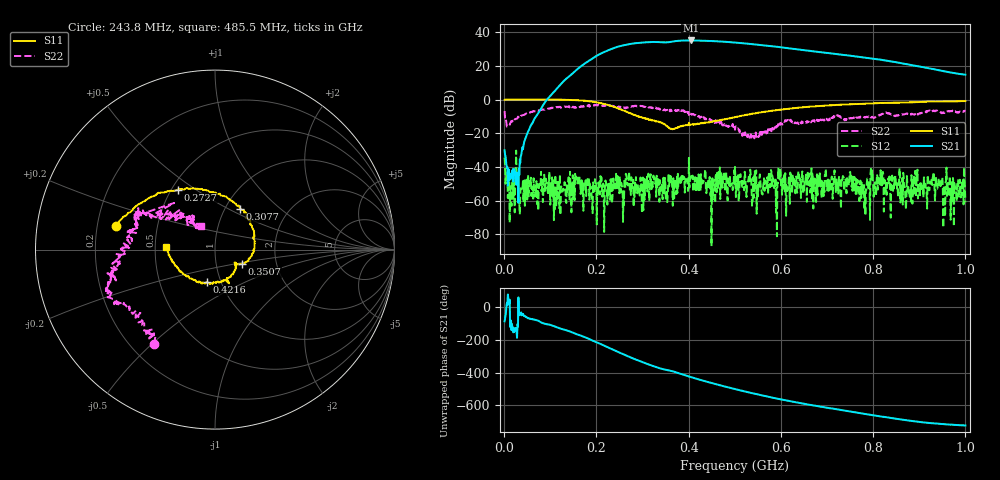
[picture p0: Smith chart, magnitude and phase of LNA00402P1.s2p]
! Created with skrf 1.9.0 (http://scikit-rf.org).
# Hz S RI R 50.0
!freq ReS11 ImS11 ReS21 ImS21 ReS12 ImS12 ReS22 ImS22
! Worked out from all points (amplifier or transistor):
!   1001 points, 1 MHz to 1 GHz, reference 50 ohm
!   highest |S21| = 35.1 dB at 404.6 MHz (marker M1)
!   |S21| within 3 dB of that: 256.7 MHz to 567.9 MHz (311.2 MHz wide, 75.5 % of centre)
!   unconditionally stable (mu >= 1): 210.9 MHz to 270.5 MHz; 271.1 MHz to 400.2 MHz; 400.9 MHz to end of sweep (the widest 3 of 39)
!   at 166.8 MHz: K = 1.01, MAG = 35.4 dB, |S12| = -52.5 dB
!   at 500.5 MHz: K = 1.14, MAG = 34.6 dB, |S12| = -40.0 dB
!   at 1 GHz: K = 15.52, MAG = 23.0 dB, |S12| = -61.0 dB
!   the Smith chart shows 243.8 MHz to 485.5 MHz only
!   S11 on the Smith chart (normalised r, x): 243.8 MHz: 0.28, +0.11; 272.7 MHz: 0.54, +0.43; 307.7 MHz: 1.18, +0.57; 350.6 MHz: 1.34, -0.22; 421.6 MHz: 0.86, -0.32; 485.5 MHz: 0.57, +0.02
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1000000  0.9798 0.0036  0.00136 -0.0312  -0.0161 0.00977  0.3289 0.3099
1.08892e8  0.5332 -0.8434  -0.8169 -1.545  -0.00196 0.00098  0.4182 -0.3815
1.67833e8  -0.2128 -0.9109  -10.03 -0.6094  -0.00101 0.0039  0.0446 -0.6239
2.09791e8  -0.658 -0.4107  -15.88 16.86  -9.49e-05 -0.00332  -0.208 -0.645
2.26774e8  -0.6711 -0.1225  -10.68 27.49  -0.00209 0.000297  -0.289 -0.574
2.43757e8  -0.552 0.131  0.3995 35.97  -0.00307 -0.00178  -0.3393 -0.5259
2.72728e8  -0.2059 0.3346  26.05 36.26  -0.00108 -0.00148  -0.547 -0.3025
3.07693e8  0.1409 0.2257  48.35 13.42  -0.00166 -0.00162  -0.5816 -0.1674
3.34666e8  0.2211 0.00851  49.81 -9.96  -0.000591 0.0033  -0.5263 -0.0283
3.5065e8  0.1516 -0.0787  45.72 -19.62  -0.000427 0.000934  -0.488 0.0536
3.75625e8  0.1141 -0.0911  41.37 -36.39  0.00108 0.00131  -0.4311 0.1974
4.04596e8  0.0456 -0.1763  22.05 -52.25  0.000221 0.00483  -0.3283 0.1909
4.21579e8  -0.0442 -0.1815  8.539 -55.28  0.00598 0.000381  -0.2732 0.1673
4.5055e8  -0.1748 -0.1378  -13.04 -53.18  0.000913 0.00331  -0.1593 0.1784
4.85515e8  -0.271 0.0149  -32.51 -39.26  0.00355 0.00286  -0.0801 0.1301
5.005e8  -0.2861 0.1005  -38.06 -31.36  0.01 -0.000208  -0.0891 0.09
5.4046e8  -0.2325 0.3063  -42.65 -9.821  0.00488 0.000822  -0.0901 0.0022
5.88412e8  -0.0474 0.4749  -35.66 10.8  -0.00144 -0.00454  -0.1493 -0.0815
6.67333e8  0.3185 0.5304  -14.08 23.2  0.00105 -0.000507  -0.2292 -0.0339
7.55245e8  0.6277 0.3672  3.194 19.27  -0.000885 -0.00174  -0.28 0.0326
8.34166e8  0.7829 0.1448  9.723 9.882  0.000216 -0.00316  -0.3789 0.0313
1e9  0.8166 -0.3811  5.472 -0.1951  -0.000771 -0.000445  -0.2714 0.3566
